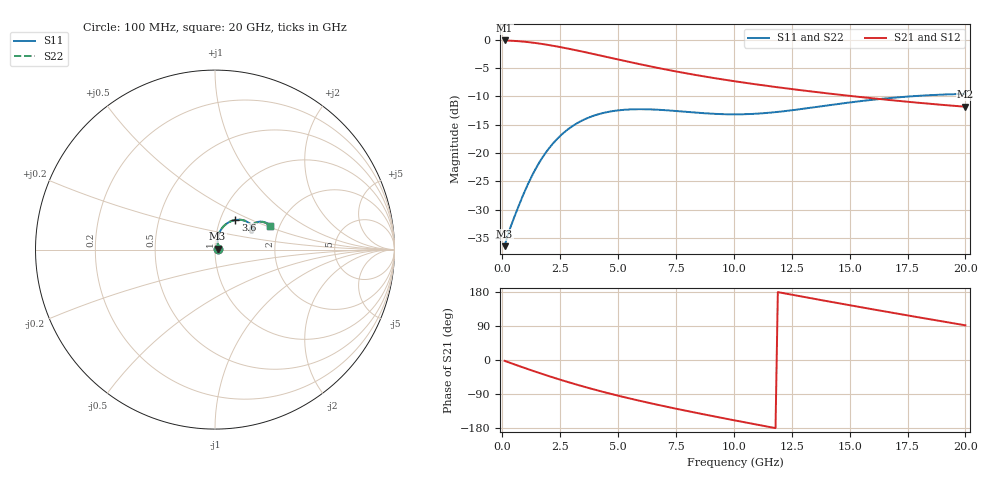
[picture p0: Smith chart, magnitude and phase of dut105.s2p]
! Touchstone file exported from HFSS 2024.1.0
!  File:  C:/UserFiles/LocalFiles/RDL_TSV_Batchsim/temp_RDL_TSV_105_1779420603.aedt
!  Generated:  11:48:30 AM May 22, 2026
!  Design:  RDL_TSV
!  Project:  temp_RDL_TSV_105_1779420603
!  Setup:  Setup1
!  Solution:  Sweep
! Variables:
!  dtsv = 6.89um
!  hbump = 3um
!  htsv = 68.2um
!  ldown = 683.64um
!  lrdl = 539.24um
!  p = 40
!  p1 = 58.71um
!  rhole = 10um
!  subl = 4207.88um
!  t = 450um
!  tdown = 4.26um
!  trdl = 4.39um
!  viad = 10um
!  wdown = 26.45um
!  wrdl = 29.47um
!  xbump = 18um
# GHz S MA R 50.000000
! Terminal data exported
! Port[1] = TM1_1_T1
! Port[2] = TM1_4_T1
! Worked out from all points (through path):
!   200 points, 100 MHz to 20 GHz, reference 50 ohm
!   highest |S21| = -0.13 dB at 100 MHz (marker M1); lowest = -11.8 dB at 20 GHz (marker M2)
!   group delay of S21, straight-line fit = 35.3 ps
!   lowest |S11| = -36.4 dB at 100 MHz (marker M3), VSWR 1.03, Z = 51.4 + j0.545 ohm
!   |S11| at or under -10 dB: start of sweep to 17.61 GHz
!   |S22| runs from -36.4 to -9.6 dB; largest |S21 - S12| = 1e-14
!   S11 on the Smith chart (normalised r, x): 100 MHz: 1.03, +0.01; 3.6 GHz: 1.18, +0.41; 20 GHz: 1.77, +0.53
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0.1  0.01508 20.6  0.9856 -2.3  0.9856 -2.3  0.01508 20.6
! Gamma 0 0 0 0
! Port Impedance 50 0 50 0
0.3  0.02068 41.3  0.9818 -6.7  0.9818 -6.7  0.02068 41.3
0.9  0.04261 69.9  0.9632 -19.7  0.9632 -19.7  0.04261 69.9
1.3  0.06407 75.8  0.9435 -28.1  0.9435 -28.1  0.06409 75.8
1.7  0.08913 76.1  0.9192 -36.3  0.9192 -36.3  0.08918 76.1
2.1  0.1156 73.4  0.8916 -44.3  0.8916 -44.3  0.1157 73.4
2.6  0.1479 68.0  0.8541 -53.8  0.8541 -53.8  0.1481 68.0
3  0.1713 63.0  0.8227 -61.2  0.8227 -61.2  0.1715 63.1
3.5  0.1961 56.6  0.7829 -70.0  0.7829 -70.0  0.1965 56.7
3.6  0.2004 55.4  0.775 -71.7  0.775 -71.7  0.2008 55.4
4.4  0.2269 46.0  0.7132 -84.9  0.7132 -84.9  0.2274 46.0
5.2  0.2404 38.1  0.656 -97.1  0.656 -97.1  0.2411 38.1
6  0.2438 31.9  0.6048 -108.6  0.6048 -108.6  0.2447 32.0
6.8  0.2407 27.6  0.5598 -119.4  0.5598 -119.4  0.2417 27.6
8.3  0.228 24.3  0.4907 -138.5  0.4907 -138.5  0.2291 24.2
10.1  0.2196 26.8  0.4282 -160.1  0.4282 -160.1  0.2206 26.5
11.6  0.2276 30.8  0.3877 -177.5  0.3877 -177.5  0.2282 30.4
13.4  0.2524 33.5  0.3485 162.2  0.3485 162.2  0.2525 33.2
15  0.2795 33.2  0.3197 144.6  0.3197 144.6  0.2791 32.8
16.7  0.3054 30.7  0.2941 126.2  0.2941 126.2  0.3045 30.4
18.3  0.3229 27.4  0.274 109.3  0.274 109.3  0.3217 27.1
20  0.3329 23.7  0.2564 91.5  0.2564 91.5  0.3314 23.5
